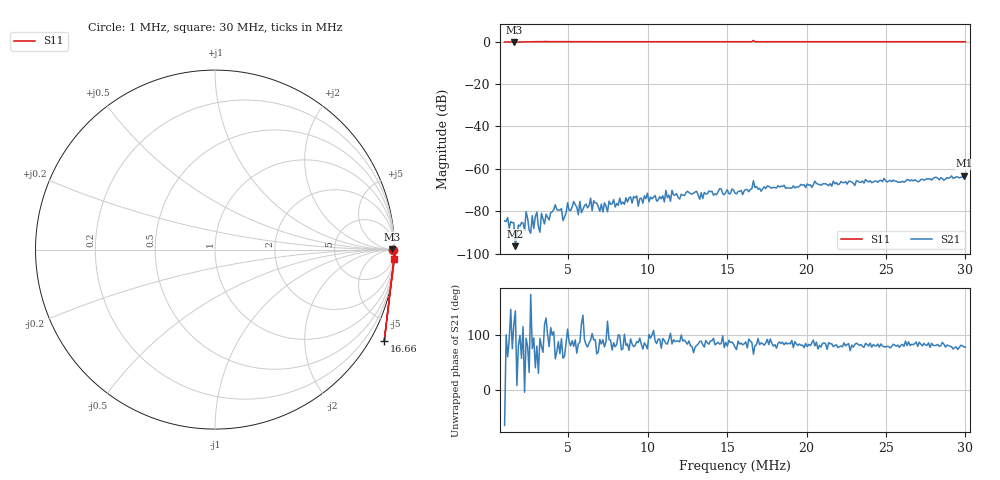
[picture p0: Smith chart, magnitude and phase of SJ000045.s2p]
!File created by NanoVNA-F V2
# Hz S RI R 50
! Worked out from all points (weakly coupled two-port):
!   301 points, 1 MHz to 30 MHz, reference 50 ohm
!   highest |S21| = -63.21 dB at 29.9 MHz (marker M1); lowest = -96.5 dB at 1.677 MHz (marker M2)
!   lowest |S11| = -0.1 dB at 1.58 MHz (marker M3), VSWR 143.76, Z = 7.16e+03 + j480 ohm
!   |S11| at or under -10 dB: nowhere
!   S12 and S22 are empty: the file has one direction only
!   S11 on the Smith chart (normalised r, x): 1 MHz: open; 16.66 MHz: -0.57, -3.88; 30 MHz: -1, -39
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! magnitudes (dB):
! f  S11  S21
! 1 MHz  -0.1  -84.5
! 1.58 MHz  -0.1  -85.5
! 1.677 MHz  -0.1  -96.5
! 5.35 MHz  0.0  -75.4
! 5.64 MHz  0.0  -81.7
! 5.737 MHz  0.0  -75.3
! 5.833 MHz  0.0  -80.7
! 6.413 MHz  0.0  -73.8
! 6.51 MHz  0.0  -79.7
! 6.607 MHz  0.0  -75.0
! 6.993 MHz  0.0  -80.0
! 8.25 MHz  0.0  -73.8
! 10.67 MHz  0.0  -74.7
! 11.15 MHz  0.0  -70.2
! 11.44 MHz  0.0  -75.3
! 15.5 MHz  0.0  -71.5
! 16.66 MHz  0.6  -65.6
! 17.14 MHz  0.0  -70.6
! 20.33 MHz  0.0  -68.8
! 25.17 MHz  0.0  -65.8
! 29.9 MHz  0.0  -63.2
! 30 MHz  0.0  -63.7
